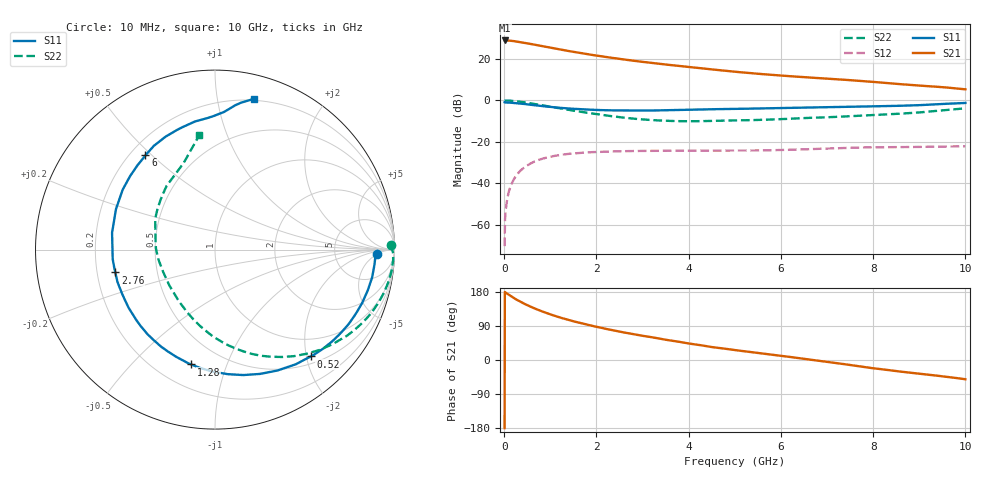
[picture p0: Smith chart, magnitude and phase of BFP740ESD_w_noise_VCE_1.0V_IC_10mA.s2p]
! Infineon Technologies  Discrete & RF Semiconductors
! BFP740ESD
! VCE =  1.0 V,  IC =  10 mA
! Common Emitter S-Parameters:  Jan 2016
# GHz  S  MA  R  50
!  f  S11  S21  S12  S22
! GHz  MAG  ANG  MAG  ANG  MAG  ANG  MAG  ANG
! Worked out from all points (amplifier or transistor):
!   233 points, 10 MHz to 10 GHz, reference 50 ohm
!   highest |S21| = 29.0 dB at 10 MHz (marker M1)
!   |S21| within 3 dB of that: start of sweep to 890 MHz
!   unconditionally stable (mu >= 1): 5.149 GHz to 9.397 GHz
!   at 200 MHz: K = 0.08, MSG = 33.6 dB, |S12| = -38.6 dB
!   at 1.74 GHz: K = 0.40, MSG = 23.9 dB, |S12| = -25.2 dB
!   at 10 GHz: K = 0.82, MSG = 13.8 dB, |S12| = -22.2 dB
!   lowest NFmin = 0.60 dB at 450 MHz
!   S11 on the Smith chart (normalised r, x): 10 MHz: 19, -5; 520 MHz: 0.63, -2.08; 1.28 GHz: 0.34, -0.76; 2.76 GHz: 0.28, -0.10; 6 GHz: 0.26, +0.48; 10 GHz: 0.19, +1.27
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0.01  0.9049 -1.6  28.16 -179.8  0.0003 109.6  0.9817 1.6
0.02  0.8943 -2.4  27.84 178.8  0.0014 92.7  0.9925 -1.2
0.06  0.8914 -6.3  27.94 175.2  0.0037 85.8  0.9933 -4.1
0.15  0.881 -14.9  27.67 168.0  0.0089 81.2  0.9826 -10.7
0.26  0.86 -25.4  26.62 159.8  0.015 75.3  0.9565 -18.2
0.4  0.8294 -38.0  25.16 150.7  0.0223 68.2  0.9135 -27.0
0.52  0.7989 -48.2  23.79 143.6  0.0277 62.6  0.8716 -34.0
0.7  0.7582 -62.7  21.87 134.1  0.0349 55.1  0.8085 -43.7
0.9  0.7165 -77.3  19.84 124.7  0.041 47.9  0.7394 -53.4
1.1  0.6809 -90.7  18.01 116.4  0.0459 41.8  0.6746 -62.3
1.28  0.6534 -101.8  16.55 109.6  0.0493 36.9  0.6219 -69.7
1.46  0.6311 -111.8  15.22 103.5  0.0518 32.8  0.5749 -76.4
1.68  0.6106 -123.1  13.84 96.6  0.0542 28.4  0.5262 -84.0
2.2  0.5803 -146.1  11.25 82.3  0.058 20.3  0.4354 -100.7
2.76  0.5702 -167.1  9.244 69.1  0.0597 14.0  0.3663 -118.9
3.4  0.5764 173.6  7.598 55.8  0.0607 8.8  0.3264 -138.5
4.5  0.6133 147.0  5.624 34.2  0.0614 2.4  0.3208 -170.9
5.1  0.6275 137.8  4.825 24.7  0.0614 0.9  0.3301 176.9
6  0.653 126.4  3.995 11.0  0.0631 -0.2  0.3531 160.2
6.8  0.6793 116.3  3.472 -1.5  0.0674 -2.4  0.3844 147.9
8.4  0.7341 93.3  2.571 -27.7  0.0741 -11.6  0.4661 120.1
10  0.8675 75.6  1.856 -50.8  0.0777 -19.8  0.6448 97.8
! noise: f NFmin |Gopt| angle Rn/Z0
0.45  0.6  0.2  3  0.08
0.9  0.63  0.19  13  0.1
1.9  0.65  0.18  17  0.1
2.4  0.7  0.12  37  0.11
5.5  0.9  0.24  -138  0.14
10  1.66  0.57  -90  0.48
